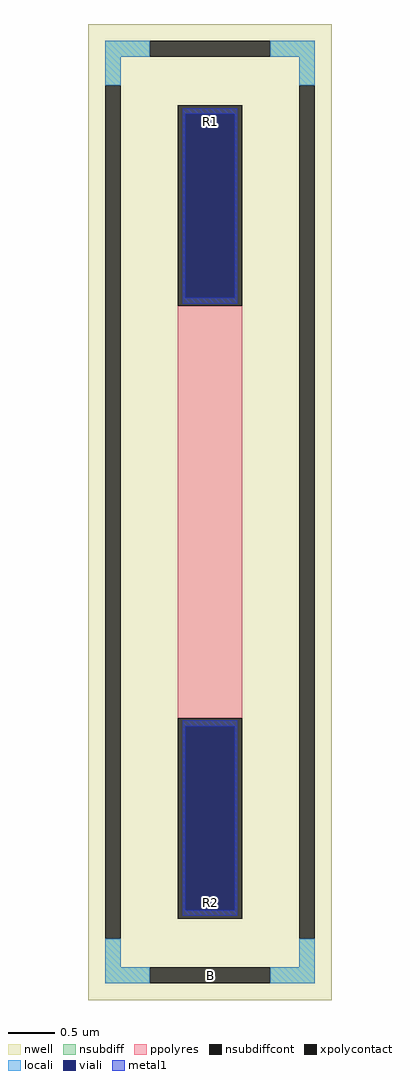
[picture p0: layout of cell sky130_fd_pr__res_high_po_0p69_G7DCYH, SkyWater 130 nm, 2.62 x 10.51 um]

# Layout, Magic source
magic
tech sky130A
magscale 1 2
<< nwell >>
rect -262 -1051 262 1051
<< nsubdiff >>
rect -226 981 -130 1015
rect 130 981 226 1015
rect -226 919 -192 981
rect 192 919 226 981
rect -226 -981 -192 -919
rect 192 -981 226 -919
rect -226 -1015 -130 -981
rect 130 -1015 226 -981
<< nsubdiffcont >>
rect -130 981 130 1015
rect -226 -919 -192 919
rect 192 -919 226 919
rect -130 -1015 130 -981
<< xpolycontact >>
rect -69 444 69 876
rect -69 -876 69 -444
<< ppolyres >>
rect -69 -444 69 444
<< locali >>
rect -226 981 -130 1015
rect 130 981 226 1015
rect -226 919 -192 981
rect 192 919 226 981
rect -226 -981 -192 -919
rect 192 -981 226 -919
rect -226 -1015 -130 -981
rect 130 -1015 226 -981
<< viali >>
rect -53 461 53 858
rect -53 -858 53 -461
<< metal1 >>
rect -59 858 59 870
rect -59 461 -53 858
rect 53 461 59 858
rect -59 449 59 461
rect -59 -461 59 -449
rect -59 -858 -53 -461
rect 53 -858 59 -461
rect -59 -870 59 -858
<< labels >>
rlabel nsubdiffcont 0 -998 0 -998 0 B
port 1 nsew
rlabel xpolycontact 0 841 0 841 0 R1
port 2 nsew
rlabel xpolycontact 0 -841 0 -841 0 R2
port 3 nsew
<< properties >>
string FIXED_BBOX -209 -998 209 998
string gencell sky130_fd_pr__res_high_po_0p69
string library sky130
string parameters w 0.690 l 4.6 m 1 nx 1 wmin 0.690 lmin 0.50 class resistor rho 319.8 val 2.696k dummy 0 dw 0.0 term 194.82 sterm 0.0 caplen 0 guard 1 glc 1 grc 1 gtc 1 gbc 1 compatible {sky130_fd_pr__res_high_po_0p35  sky130_fd_pr__res_high_po_0p69 sky130_fd_pr__res_high_po_1p41  sky130_fd_pr__res_high_po_2p85 sky130_fd_pr__res_high_po_5p73} snake 0 full_metal 1 wmax 0.690 n_guard 1 hv_guard 0 vias 1 viagb 0 viagt 0 viagl 0 viagr 0 doports 1
<< end >>
